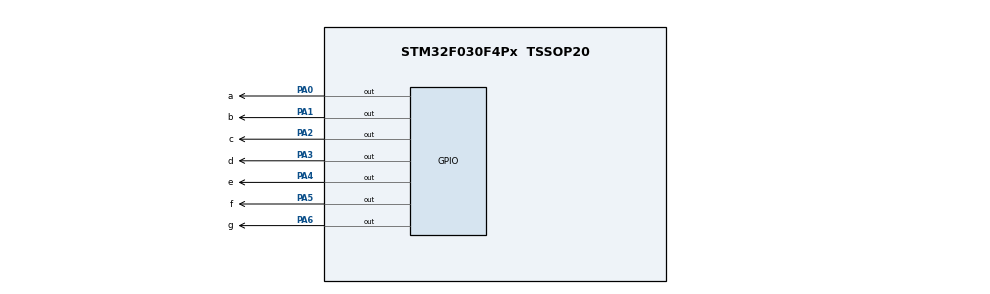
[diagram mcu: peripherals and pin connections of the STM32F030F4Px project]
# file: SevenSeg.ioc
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Mcu.Family=STM32F0
Mcu.Name=STM32F030F4Px
Mcu.Package=TSSOP20
PA0.GPIO_Label=a
PA0.Signal=GPIO_Output
PA1.GPIO_Label=b
PA1.Signal=GPIO_Output
PA2.GPIO_Label=c
PA2.Signal=GPIO_Output
PA3.GPIO_Label=d
PA3.Signal=GPIO_Output
PA4.GPIO_Label=e
PA4.Signal=GPIO_Output
PA5.GPIO_Label=f
PA5.Signal=GPIO_Output
PA6.GPIO_Label=g
PA6.Signal=GPIO_Output
ProjectManager.HeapSize=0x200
ProjectManager.StackSize=0x400
ProjectManager.TargetToolchain=STM32CubeIDE
board=custom

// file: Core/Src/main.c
/* USER CODE BEGIN Header */
/**
  ******************************************************************************
  * @file           : main.c
  * @brief          : Main program body
  ******************************************************************************
  * @attention
  *
  * Copyright (c) 2024 STMicroelectronics.
  * All rights reserved.
  *
  * This software is licensed under terms that can be found in the LICENSE file
  * in the root directory of this software component.
  * If no LICENSE file comes with this software, it is provided AS-IS.
  *
  ******************************************************************************
  */
/* USER CODE END Header */
#include "main.h"

void SystemClock_Config(void);
static void MX_GPIO_Init(void);

/* USER CODE BEGIN 0 */
uint8_t seg_table[] = {
	//pgfedcba
	0b11000000,	 // 0
	0b11111001,	 // 1
	0b10100100,	 // 2
	0b10110000,	 // 3
	0b10011001,	 // 4
	0b10010010,	 // 5
	0b10000010,	 // 6
	0b11111000,	 // 7
	0b10000000,	 // 8
	0b10010000	 // 9
};

int length = sizeof(seg_table) / sizeof(seg_table[0]);
/* USER CODE END 0 */

int main(void)
{

  /* MCU Configuration--------------------------------------------------------*/

  /* Reset of all peripherals, Initializes the Flash interface and the Systick. */
  HAL_Init();

  /* Configure the system clock */
  SystemClock_Config();

  /* Initialize all configured peripherals */
  MX_GPIO_Init();

  /* Infinite loop */
  while (1)
  {

    /* USER CODE BEGIN 3 */

	  for (uint8_t count = 0; count <length; count++) {

	        GPIOA->ODR = seg_table[count];   //ODR-Output Data Register value

	        HAL_Delay(1000);  // Delay 1 second
	      }

  }
  /* USER CODE END 3 */
}

void SystemClock_Config(void)
{
  RCC_OscInitTypeDef RCC_OscInitStruct = {0};
  RCC_ClkInitTypeDef RCC_ClkInitStruct = {0};

  /** Initializes the RCC Oscillators according to the specified parameters
  * in the RCC_OscInitTypeDef structure.
  */
  RCC_OscInitStruct.OscillatorType = RCC_OSCILLATORTYPE_HSI;
  RCC_OscInitStruct.HSIState = RCC_HSI_ON;
  RCC_OscInitStruct.HSICalibrationValue = RCC_HSICALIBRATION_DEFAULT;
  RCC_OscInitStruct.PLL.PLLState = RCC_PLL_NONE;
  if (HAL_RCC_OscConfig(&RCC_OscInitStruct) != HAL_OK)
  {
    Error_Handler();
  }

  /** Initializes the CPU, AHB and APB buses clocks
  */
  RCC_ClkInitStruct.ClockType = RCC_CLOCKTYPE_HCLK|RCC_CLOCKTYPE_SYSCLK
                              |RCC_CLOCKTYPE_PCLK1;
  RCC_ClkInitStruct.SYSCLKSource = RCC_SYSCLKSOURCE_HSI;
  RCC_ClkInitStruct.AHBCLKDivider = RCC_SYSCLK_DIV1;
  RCC_ClkInitStruct.APB1CLKDivider = RCC_HCLK_DIV1;

  if (HAL_RCC_ClockConfig(&RCC_ClkInitStruct, FLASH_LATENCY_0) != HAL_OK)
  {
    Error_Handler();
  }
}

static void MX_GPIO_Init(void)
{
  GPIO_InitTypeDef GPIO_InitStruct = {0};

  /* GPIO Ports Clock Enable */
  __HAL_RCC_GPIOA_CLK_ENABLE();

  /*Configure GPIO pin Output Level */
  HAL_GPIO_WritePin(GPIOA, a_Pin|b_Pin|c_Pin|d_Pin
                          |e_Pin|f_Pin|g_Pin, GPIO_PIN_RESET);

  /*Configure GPIO pins : a_Pin b_Pin c_Pin d_Pin
                           e_Pin f_Pin g_Pin */
  GPIO_InitStruct.Pin = a_Pin|b_Pin|c_Pin|d_Pin
                          |e_Pin|f_Pin|g_Pin;
  GPIO_InitStruct.Mode = GPIO_MODE_OUTPUT_PP;
  GPIO_InitStruct.Pull = GPIO_NOPULL;
  GPIO_InitStruct.Speed = GPIO_SPEED_FREQ_LOW;
  HAL_GPIO_Init(GPIOA, &GPIO_InitStruct);

}

void Error_Handler(void)
{
  __disable_irq();
  while (1)
  {
  }
}
